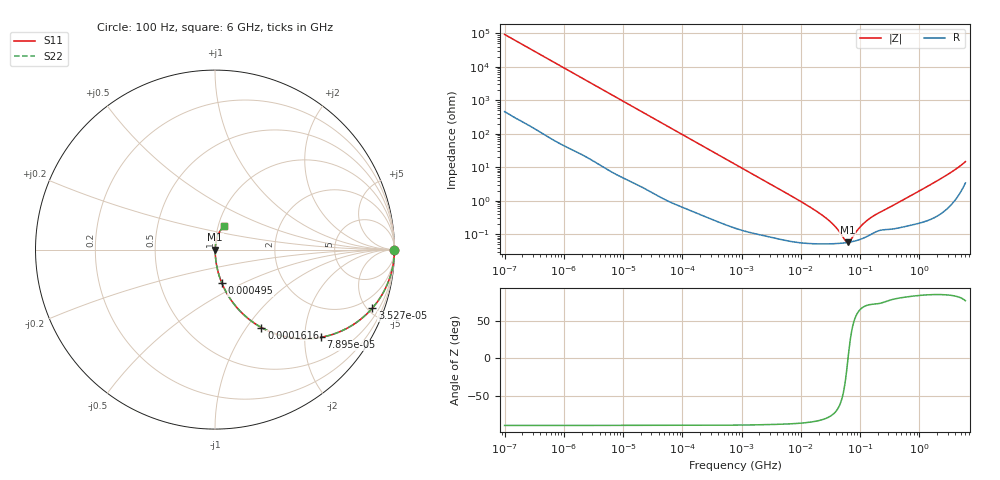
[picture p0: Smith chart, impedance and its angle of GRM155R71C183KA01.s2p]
!Murata Part Number: GRM155R71C183KA01
!These Parameters are Measured in Series Mode Connection
!Data Generated on Mar 30, 2021
!  o--ll--o
!Port1  Port2
!  o------o
!Operation Temp=25[degC], DC Bias Voltage=0[V]
!Freq. Start=100[Hz] Stop=6[GHz] 401[Steps]
# Hz S RI R 50
!Freq.(Hz) S11(Real) S11(Imag) S21(Real) S21(Imag) S12(Real) S12(Imag) S22(Real) S22(Imag)
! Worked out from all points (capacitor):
!   401 points, 100 Hz to 6 GHz, reference 50 ohm
!   read as one part in series: C = 17.1 nF near 109 Hz
!   lowest |Z| = 57.2 mohm at 62.33 MHz (marker M1)
!   series resonance near 62.71 MHz, so ESL is about 380 pH
!   S11 on the Smith chart (normalised r, x): 100 Hz: open; 35.27 kHz: 1.03, -5.37; 78.95 kHz: 1.02, -2.40; 161.6 kHz: 1.01, -1.18; 495 kHz: 1.00, -0.39; 6 GHz: 1.07, +0.29
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100  1 -0.00108  6.5e-06 0.00108  6.5e-06 0.00108  1 -0.00108
2008  0.9994 -0.0214  0.000569 0.0214  0.000569 0.0214  0.9994 -0.0214
10527  0.9871 -0.1103  0.0129 0.1103  0.0129 0.1103  0.9871 -0.1103
35265  0.8766 -0.3261  0.1234 0.3261  0.1234 0.3261  0.8766 -0.3261
40335  0.8449 -0.3592  0.1551 0.3592  0.1551 0.3592  0.8449 -0.3592
78952  0.5901 -0.4887  0.4099 0.4887  0.4099 0.4887  0.5901 -0.4887
161617  0.2589 -0.4342  0.7411 0.4342  0.7411 0.4342  0.2589 -0.4342
264476  0.1171 -0.3172  0.8829 0.3172  0.8829 0.3172  0.1171 -0.3172
495019  0.0378 -0.1855  0.9622 0.1855  0.9622 0.1855  0.0378 -0.1855
774597  0.0165 -0.1215  0.9835 0.1215  0.9835 0.1215  0.0165 -0.1215
2481164  0.00239 -0.0387  0.9976 0.0387  0.9976 0.0387  0.00239 -0.0387
1.555665e7  0.000557 -0.00588  0.9994 0.00588  0.9994 0.00588  0.000557 -0.00588
3.184506e7  0.000523 -0.00227  0.9995 0.00227  0.9995 0.00227  0.000523 -0.00227
4.165952e7  0.000531 -0.00131  0.9995 0.00131  0.9995 0.00131  0.000531 -0.00131
5.699437e7  0.000558 -0.000296  0.9994 0.000296  0.9994 0.000296  0.000558 -0.000296
6.233367e7  0.000571 -1.83e-05  0.9994 1.83e-05  0.9994 1.83e-05  0.000571 -1.83e-05
6.817316e7  0.000586 0.000259  0.9994 -0.000259  0.9994 -0.000259  0.000586 0.000259
9.326766e7  0.000673 0.00125  0.9993 -0.00125  0.9993 -0.00125  0.000673 0.00125
1.275994e8  0.000843 0.00233  0.9992 -0.00233  0.9992 -0.00233  0.000843 0.00233
3.124326e8  0.00144 0.00616  0.9986 -0.00616  0.9986 -0.00616  0.00144 0.00616
2.142435e9  0.00548 0.0418  0.9945 -0.0418  0.9945 -0.0418  0.00548 0.0418
6e9  0.0513 0.132  0.9487 -0.132  0.9487 -0.132  0.0513 0.132
